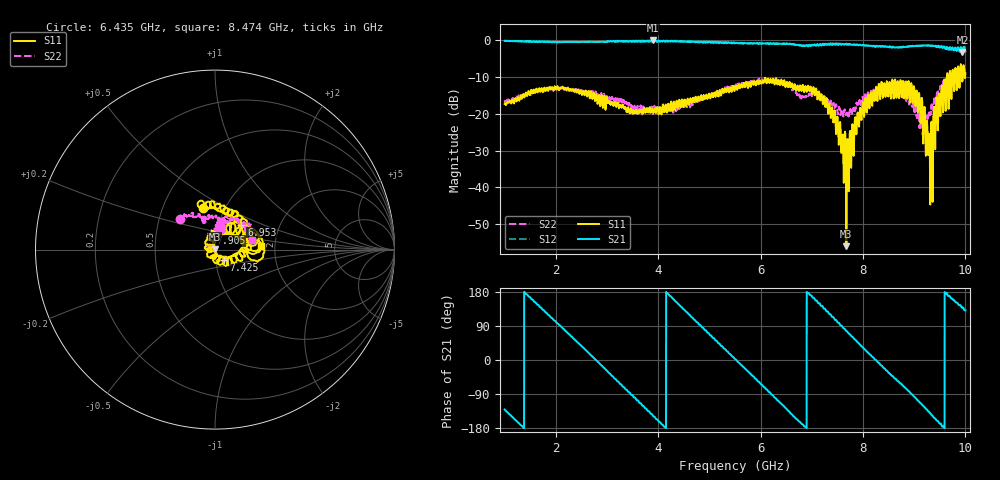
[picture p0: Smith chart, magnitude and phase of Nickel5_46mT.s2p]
#  HZ  S  RI  R  50.0
! Rohde & Schwarz ZVL13 2Ports - Version 3.31 - 1303.6509k13 SN: 101088
! Date: 2023-03-09 14:10:44
! Data & Calibration Information:
! Trc4:S11(TOSM) Trc2:S21(TOSM) Trc3:S12(TOSM) Trc5:S22(TOSM)
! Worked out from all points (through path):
!   4000 points, 1 GHz to 10 GHz, reference 50 ohm
!   highest |S21| = -0.14 dB at 3.892 GHz (marker M1); lowest = -3.3 dB at 9.941 GHz (marker M2)
!   group delay of S21, straight-line fit = 365 ps
!   lowest |S11| = -55.9 dB at 7.675 GHz (marker M3), VSWR 1.00, Z = 50 + j0.157 ohm
!   |S11| at or under -10 dB: start of sweep to 9.637 GHz; 9.653329 GHz to 9.688223 GHz (34.89 MHz wide, 0.361 % of centre); 9.710065 GHz to 9.740918 GHz (30.85 MHz wide, 0.317 % of centre)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
!   |S22| runs from -25.8 to -7.3 dB; largest |S21 - S12| = 0.074
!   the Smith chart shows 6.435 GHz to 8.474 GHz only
!   S11 on the Smith chart (normalised r, x): 6.435 GHz: 0.79, +0.39; 6.953 GHz: 1.28, +0.37; 7.425 GHz: 1.10, -0.13; 7.905 GHz: 0.94, +0.18; 8.474 GHz: 1.69, +0.08
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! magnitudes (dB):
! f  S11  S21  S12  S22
! 1 GHz  -17.3  -0.3  -0.2  -16.8
! 1.695 GHz  -14.1  -0.6  -0.4  -13.7
! 2.501 GHz  -14.5  -0.5  -0.6  -13.7
! 3.892 GHz  -19.1  -0.1  -0.2  -19.0
! 4 GHz  -19.5  -0.2  -0.2  -19.2
! 5.501 GHz  -13.1  -0.8  -0.9  -12.5
! 6.435 GHz  -12.3  -1.1  -1.0  -11.8
! 6.953 GHz  -13.9  -1.3  -1.4  -14.7
! 7 GHz  -14.3  -1.3  -1.4  -15.1
! 7.425 GHz  -22.1  -1.1  -1.0  -17.1
! 7.675 GHz  -55.9  -1.3  -1.0  -20.0
! 7.905 GHz  -20.3  -1.4  -1.4  -18.0
! 8.128 GHz  -18.3  -1.6  -1.6  -15.5
! 8.474 GHz  -11.7  -1.9  -1.7  -13.4
! 8.501 GHz  -14.3  -1.9  -2.0  -13.3
! 9.019 GHz  -17.7  -1.6  -1.6  -18.6
! 9.194 GHz  -18.6  -1.6  -1.5  -20.8
! 9.318 GHz  -32.4  -1.5  -1.7  -20.3
! 9.413 GHz  -27.9  -1.5  -1.7  -16.1
! 9.563 GHz  -19.7  -2.1  -2.1  -11.6
! 9.941 GHz  -11.0  -3.3  -2.6  -7.8
! 10 GHz  -8.9  -3.1  -2.6  -7.3
